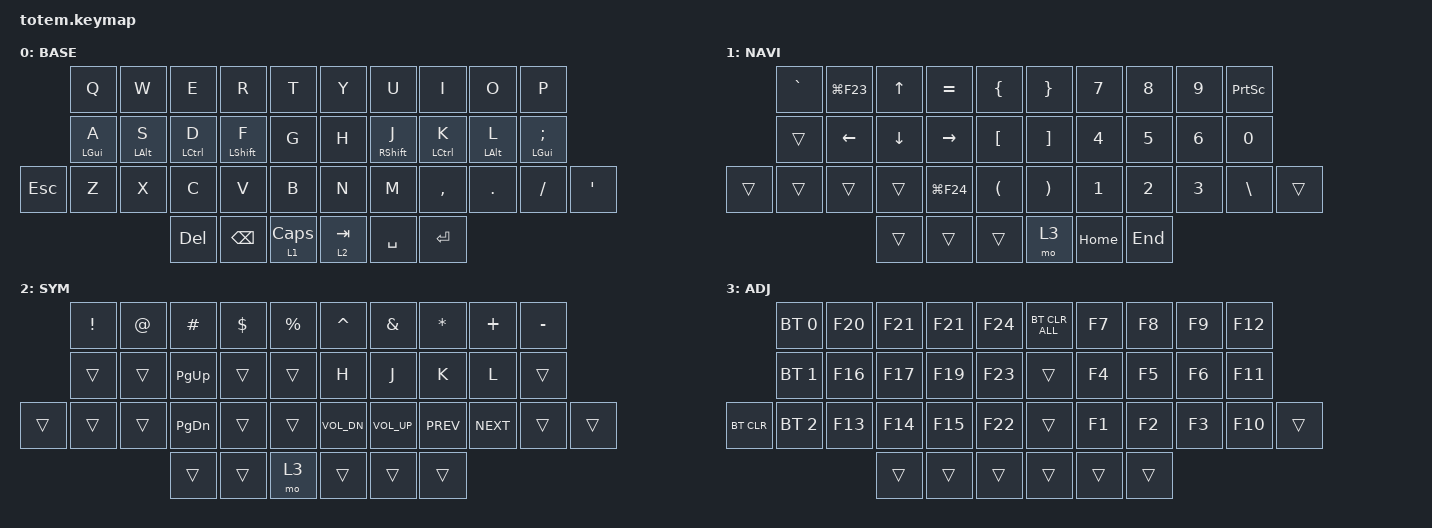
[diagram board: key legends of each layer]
//
//                                                        ▀▀▀▀▀     ▀▀▀▀▀          ▀▀█▀▀
//                                                        ▄▀▀▀▄  ▄  ▄▀▀▀▄  ▄  ▄▀▀▀▄  █  ▄▀▀▀▄
//                                                        █   █  █  █   █  █  █   █  █  █   █
//                                                         ▀▀▀   █   ▀▀▀   █   ▀▀▀   ▀   ▀▀▀
//                                                               █      ▄▄▄█▄▄▄    █   █  
//                                                               ▀      █  █  █     █▄█
//                                                             ▀▀▀▀▀    █  █  █      ▀
//                                                                      ▀  ▀  ▀
//
// ▄▄▄▄▄▄▄▄▄▄▄▄▄▄▄▄▄▄▄▄▄▄▄▄▄▄▄▄▄▄▄▄▄▄▄▄▄▄▄▄▄▄▄▄▄▄▄▄▄▄▄▄▄▄▄▄▄▄▄▄▄▄▄▄▄▄▄▄▄▄▄▄▄▄▄▄▄▄▄▄▄▄▄▄▄▄▄▄▄▄▄▄▄▄▄▄▄▄▄▄▄▄▄▄▄▄▄▄▄▄▄▄▄▄▄▄▄▄▄▄▄▄▄▄▄▄▄▄▄▄▄▄▄▄▄▄▄▄▄▄▄▄▄▄▄▄▄▄▄

#include <behaviors.dtsi>
#include <dt-bindings/zmk/bt.h>
#include <dt-bindings/zmk/keys.h>

#define BASE 0
#define NAV  1
#define SYM  2
#define ADJ  3
#define TVP1 4
#define TVP2 5

&mt {
    quick-tap-ms = <150>;
    global-quick-tap;
    flavor = "tap-preferred";
    tapping-term-ms = <200>;
};

/ {
    combos {
        compatible = "zmk,combos";

        delete_word {
            bindings = <&kp LC(BACKSPACE)>;
            key-positions = <33 17>;
        };

        left_bracket {
            bindings = <&kp LEFT_BRACKET>;
            key-positions = <8 7>;
        };

        right_bracket {
            bindings = <&kp RIGHT_BRACKET>;
            key-positions = <18 17>;
        };

        delete_word2 {
            bindings = <&kp LC(DELETE)>;
            key-positions = <12 33>;
        };

        esc {
            bindings = <&kp ESC>;
            key-positions = <10 11>;
        };

        apostrophe {
            bindings = <&kp APOSTROPHE>;
            key-positions = <19 18>;
        };

        printscreen {
            bindings = <&kp PRINTSCREEN>;
            key-positions = <3 1>;
        };
    };

    macros {
        gif: gif {
            label = "giphy";
            compatible = "zmk,behavior-macro";
            #binding-cells = <0>;
            bindings =
                <&macro_press>,
                <&kp LSHFT>,
                <&macro_tap>,
                <&kp N2>,
                <&macro_release>,
                <&kp LSHFT>,
                <&macro_tap>,
                <&kp G &kp I &kp F>;
        };
    };

    keymap {
        compatible = "zmk,keymap";

        // ▄▄▄▄▄▄▄▄▄▄▄▄▄▄▄▄▄▄▄▄▄▄▄▄▄▄▄▄▄▄▄▄▄▄▄▄▄▄▄▄▄▄▄▄▄▄▄▄▄▄▄▄▄▄▄▄▄▄▄▄▄▄▄▄▄▄▄▄▄▄▄▄▄▄▄▄▄▄▄▄▄▄▄▄▄▄▄▄▄▄▄▄▄▄▄▄▄▄▄▄▄▄▄▄▄▄▄▄▄▄▄▄▄▄▄▄▄▄▄▄▄▄▄▄▄▄▄▄▄▄▄▄▄▄▄▄▄▄▄▄▄▄▄▄▄▄▄▄▄

        base {
            // ┏━━━━━━━━━━━━━━━━━━━━━━━━━━━━━━━━━━━━━━━┓

            label = "BASE";

            // ┗━━━━━━━━━━━━━━━━━━━━━━━━━━━━━━━━━━━━━━━┛
            //             ┏━━━━━━━━━━━┳━━━━━━━━━━━┳━━━━━━━━━━━┳━━━━━━━━━━━┳━━━━━━━━━━━┓   ┏━━━━━━━━━━━┳━━━━━━━━━━━┳━━━━━━━━━━━┳━━━━━━━━━━━┳━━━━━━━━━━━┓
            //             ┃     Q     ┃     W     ┃     F     ┃     P     ┃     G     ┃   ┃     J     ┃     L     ┃     U     ┃     Y     ┃     ;     ┃
            //             ┣━━━━━━━━━━━╋━━━━━━━━━━━╋━━━━━━━━━━━╋━━━━━━━━━━━╋━━━━━━━━━━━┫   ┣━━━━━━━━━━━╋━━━━━━━━━━━╋━━━━━━━━━━━╋━━━━━━━━━━━╋━━━━━━━━━━━┫
            //             ┃     A     ┃     R     ┃     S     ┃     T     ┃     D     ┃   ┃     H     ┃     N     ┃     E     ┃     I     ┃     O     ┃
            // ┏━━━━━━━━━━━╋━━━━━━━━━━━╋━━━━━━━━━━━╋━━━━━━━━━━━╋━━━━━━━━━━━╋━━━━━━━━━━━┫   ┣━━━━━━━━━━━╋━━━━━━━━━━━╋━━━━━━━━━━━╋━━━━━━━━━━━╋━━━━━━━━━━━╋━━━━━━━━━━━┓
            // ┃     Q     ┃     Z     ┃     X     ┃     C     ┃     V     ┃     B     ┃   ┃     K     ┃     M     ┃     ,     ┃     .     ┃     /     ┃     \     ┃
            // ┗━━━━━━━━━━━┻━━━━━━━━━━━┻━━━━━━━━━━━╋━━━━━━━━━━━╋━━━━━━━━━━━╋━━━━━━━━━━━┫   ┣━━━━━━━━━━━╋━━━━━━━━━━━╋━━━━━━━━━━━╋━━━━━━━━━━━┻━━━━━━━━━━━┻━━━━━━━━━━━┛
            //                                     ┃    DEL    ┃    TAB    ┃    SPC    ┃   ┃   ENTER   ┃           ┃   BSPC    ┃
            //                                     ┗━━━━━━━━━━━┻━━━━━━━━━━━┻━━━━━━━━━━━┛   ┗━━━━━━━━━━━┻━━━━━━━━━━━┻━━━━━━━━━━━┛

            bindings = <
            &kp Q       &kp W       &kp E        &kp R          &kp T         &kp Y      &kp U        &kp I        &kp O           &kp P
            &mt LGUI A  &mt LALT S  &mt LCTRL D  &mt LSHFT F    &kp G         &kp H      &mt RSHFT J  &mt LCTRL K  &mt LEFT_ALT L  &mt LEFT_GUI SEMICOLON
&kp ESCAPE  &kp Z       &kp X       &kp C        &kp V          &kp B         &kp N      &kp M        &kp COMMA    &kp DOT         &kp FSLH                &kp SQT
                                    &kp DELETE   &kp BACKSPACE  &lt 1 CAPS    &lt 2 TAB  &kp SPACE    &kp ENTER
            >;
        };

        // ▄▄▄▄▄▄▄▄▄▄▄▄▄▄▄▄▄▄▄▄▄▄▄▄▄▄▄▄▄▄▄▄▄▄▄▄▄▄▄▄▄▄▄▄▄▄▄▄▄▄▄▄▄▄▄▄▄▄▄▄▄▄▄▄▄▄▄▄▄▄▄▄▄▄▄▄▄▄▄▄▄▄▄▄▄▄▄▄▄▄▄▄▄▄▄▄▄▄▄▄▄▄▄▄▄▄▄▄▄▄▄▄▄▄▄▄▄▄▄▄▄▄▄▄▄▄▄▄▄▄▄▄▄▄▄▄▄▄▄▄▄▄▄▄▄▄▄▄▄

        first {
            // ┏━━━━━━━━━━━━━━━━━━━━━━━━━━━━━━━━━━━━━━━┓

            label = "NAVI";

            // ┗━━━━━━━━━━━━━━━━━━━━━━━━━━━━━━━━━━━━━━━┛
            //             ┏━━━━━━━━━━━┳━━━━━━━━━━━┳━━━━━━━━━━━┳━━━━━━━━━━━┳━━━━━━━━━━━┓   ┏━━━━━━━━━━━┳━━━━━━━━━━━┳━━━━━━━━━━━┳━━━━━━━━━━━┳━━━━━━━━━━━┓
            //             ┃           ┃           ┃     UP    ┃           ┃     {     ┃   ┃     }     ┃     7     ┃     8     ┃     9     ┃     +     ┃
            //             ┣━━━━━━━━━━━╋━━━━━━━━━━━╋━━━━━━━━━━━╋━━━━━━━━━━━╋━━━━━━━━━━━┫   ┣━━━━━━━━━━━╋━━━━━━━━━━━╋━━━━━━━━━━━╋━━━━━━━━━━━╋━━━━━━━━━━━┫
            //             ┃   SHIFT   ┃   LEFT    ┃    DOWN   ┃   RIGHT   ┃     [     ┃   ┃     ]     ┃     4     ┃     5     ┃     6     ┃     -     ┃
            // ┏━━━━━━━━━━━╋━━━━━━━━━━━╋━━━━━━━━━━━╋━━━━━━━━━━━╋━━━━━━━━━━━╋━━━━━━━━━━━┫   ┣━━━━━━━━━━━╋━━━━━━━━━━━╋━━━━━━━━━━━╋━━━━━━━━━━━╋━━━━━━━━━━━╋━━━━━━━━━━━┓
            // ┃           ┃           ┃   P UP    ┃  C LOCK   ┃  P DOWN   ┃     (     ┃   ┃     )     ┃     1     ┃     2     ┃     3     ┃     *     ┃           ┃
            // ┗━━━━━━━━━━━┻━━━━━━━━━━━┻━━━━━━━━━━━╋━━━━━━━━━━━╋━━━━━━━━━━━╋━━━━━━━━━━━┫   ┣━━━━━━━━━━━╋━━━━━━━━━━━╋━━━━━━━━━━━╋━━━━━━━━━━━┻━━━━━━━━━━━┻━━━━━━━━━━━┛
            //                                     ┃           ┃    TAB    ┃    SPC    ┃   ┃    DEL    ┃     0     ┃           ┃
            //                                     ┗━━━━━━━━━━━┻━━━━━━━━━━━┻━━━━━━━━━━━┛   ┗━━━━━━━━━━━┻━━━━━━━━━━━┻━━━━━━━━━━━┛

            bindings = <
        &kp GRAVE  &kp LG(F23)  &kp UP    &kp EQUAL    &kp LBRC    &kp RBRC  &kp NUMBER_7  &kp N8        &kp NUMBER_9  &kp PRINTSCREEN
        &trans     &kp LEFT     &kp DOWN  &kp RIGHT    &kp LBKT    &kp RBKT  &kp NUMBER_4  &kp N5        &kp NUMBER_6  &kp NUMBER_0
&trans  &trans     &trans       &trans    &kp LG(F24)  &kp LPAR    &kp RPAR  &kp NUMBER_1  &kp NUMBER_2  &kp NUMBER_3  &kp BACKSLASH    &trans
                                &trans    &trans       &trans      &mo 3     &kp HOME      &kp END
            >;
        };

        // ▄▄▄▄▄▄▄▄▄▄▄▄▄▄▄▄▄▄▄▄▄▄▄▄▄▄▄▄▄▄▄▄▄▄▄▄▄▄▄▄▄▄▄▄▄▄▄▄▄▄▄▄▄▄▄▄▄▄▄▄▄▄▄▄▄▄▄▄▄▄▄▄▄▄▄▄▄▄▄▄▄▄▄▄▄▄▄▄▄▄▄▄▄▄▄▄▄▄▄▄▄▄▄▄▄▄▄▄▄▄▄▄▄▄▄▄▄▄▄▄▄▄▄▄▄▄▄▄▄▄▄▄▄▄▄▄▄▄▄▄▄▄▄▄▄▄▄▄▄

        second {
            // ┏━━━━━━━━━━━━━━━━━━━━━━━━━━━━━━━━━━━━━━━┓

            label = "SYM";

            // ┗━━━━━━━━━━━━━━━━━━━━━━━━━━━━━━━━━━━━━━━┛
            //             ┏━━━━━━━━━━━┳━━━━━━━━━━━┳━━━━━━━━━━━┳━━━━━━━━━━━┳━━━━━━━━━━━┓   ┏━━━━━━━━━━━┳━━━━━━━━━━━┳━━━━━━━━━━━┳━━━━━━━━━━━┳━━━━━━━━━━━┓
            //             ┃     !     ┃     @     ┃     #     ┃     $     ┃     %     ┃   ┃     ˆ     ┃     &     ┃     Ü     ┃     '     ┃     "     ┃
            //             ┣━━━━━━━━━━━╋━━━━━━━━━━━╋━━━━━━━━━━━╋━━━━━━━━━━━╋━━━━━━━━━━━┫   ┣━━━━━━━━━━━╋━━━━━━━━━━━╋━━━━━━━━━━━╋━━━━━━━━━━━╋━━━━━━━━━━━┫
            //             ┃     Ä     ┃           ┃    SZ     ┃           ┃           ┃   ┃   MUTE    ┃   YEN     ┃   EURO    ┃  POUND    ┃     Ö     ┃
            // ┏━━━━━━━━━━━╋━━━━━━━━━━━╋━━━━━━━━━━━╋━━━━━━━━━━━╋━━━━━━━━━━━╋━━━━━━━━━━━┫   ┣━━━━━━━━━━━╋━━━━━━━━━━━╋━━━━━━━━━━━╋━━━━━━━━━━━╋━━━━━━━━━━━╋━━━━━━━━━━━┓
            // ┃           ┃  EMAIL1   ┃  EMAIL2   ┃           ┃           ┃           ┃   ┃   VOL-    ┃   VOL+    ┃   LAST    ┃   NEXT    ┃     \     ┃           ┃
            // ┗━━━━━━━━━━━┻━━━━━━━━━━━┻━━━━━━━━━━━╋━━━━━━━━━━━╋━━━━━━━━━━━╋━━━━━━━━━━━┫   ┣━━━━━━━━━━━╋━━━━━━━━━━━╋━━━━━━━━━━━╋━━━━━━━━━━━┻━━━━━━━━━━━┻━━━━━━━━━━━┛
            //                                     ┃           ┃    GIF    ┃    ADJ    ┃   ┃           ┃           ┃           ┃
            //                                     ┗━━━━━━━━━━━┻━━━━━━━━━━━┻━━━━━━━━━━━┛   ┗━━━━━━━━━━━┻━━━━━━━━━━━┻━━━━━━━━━━━┛

            bindings = <
        &kp EXCL  &kp AT  &kp HASH       &kp DLLR  &kp PRCNT    &kp CARET     &kp AMPS      &kp ASTERISK  &kp PLUS    &kp MINUS
        &trans    &trans  &kp PAGE_UP    &trans    &trans       &kp H         &kp J         &kp K         &kp L       &trans
&trans  &trans    &trans  &kp PAGE_DOWN  &trans    &trans       &kp C_VOL_DN  &kp C_VOL_UP  &kp C_PREV    &kp C_NEXT  &trans     &trans
                          &trans         &trans    &mo 3        &trans        &trans        &trans
            >;
        };

        // ▄▄▄▄▄▄▄▄▄▄▄▄▄▄▄▄▄▄▄▄▄▄▄▄▄▄▄▄▄▄▄▄▄▄▄▄▄▄▄▄▄▄▄▄▄▄▄▄▄▄▄▄▄▄▄▄▄▄▄▄▄▄▄▄▄▄▄▄▄▄▄▄▄▄▄▄▄▄▄▄▄▄▄▄▄▄▄▄▄▄▄▄▄▄▄▄▄▄▄▄▄▄▄▄▄▄▄▄▄▄▄▄▄▄▄▄▄▄▄▄▄▄▄▄▄▄▄▄▄▄▄▄▄▄▄▄▄▄▄▄▄▄▄▄▄▄▄▄▄

        third {
            // ┏━━━━━━━━━━━━━━━━━━━━━━━━━━━━━━━━━━━━━━━┓

            label = "ADJ";

            // ┗━━━━━━━━━━━━━━━━━━━━━━━━━━━━━━━━━━━━━━━┛
            //             ┏━━━━━━━━━━━┳━━━━━━━━━━━┳━━━━━━━━━━━┳━━━━━━━━━━━┳━━━━━━━━━━━┓   ┏━━━━━━━━━━━┳━━━━━━━━━━━┳━━━━━━━━━━━┳━━━━━━━━━━━┳━━━━━━━━━━━┓
            //             ┃   RESET   ┃ BT CLEAR  ┃  OUT TOG  ┃           ┃           ┃   ┃           ┃    F7     ┃    F8     ┃    F9     ┃    F12    ┃
            //             ┣━━━━━━━━━━━╋━━━━━━━━━━━╋━━━━━━━━━━━╋━━━━━━━━━━━╋━━━━━━━━━━━┫   ┣━━━━━━━━━━━╋━━━━━━━━━━━╋━━━━━━━━━━━╋━━━━━━━━━━━╋━━━━━━━━━━━┫
            //             ┃ BOOTLOAD  ┃ BT NEXT   ┃           ┃           ┃           ┃   ┃           ┃    F4     ┃    F5     ┃    F6     ┃    F11    ┃
            // ┏━━━━━━━━━━━╋━━━━━━━━━━━╋━━━━━━━━━━━╋━━━━━━━━━━━╋━━━━━━━━━━━╋━━━━━━━━━━━┫   ┣━━━━━━━━━━━╋━━━━━━━━━━━╋━━━━━━━━━━━╋━━━━━━━━━━━╋━━━━━━━━━━━╋━━━━━━━━━━━┓
            // ┃           ┃           ┃ BT PREV   ┃           ┃           ┃           ┃   ┃           ┃    F1     ┃    F2     ┃    F3     ┃    F10    ┃           ┃
            // ┗━━━━━━━━━━━┻━━━━━━━━━━━┻━━━━━━━━━━━╋━━━━━━━━━━━╋━━━━━━━━━━━╋━━━━━━━━━━━┫   ┣━━━━━━━━━━━╋━━━━━━━━━━━╋━━━━━━━━━━━╋━━━━━━━━━━━┻━━━━━━━━━━━┻━━━━━━━━━━━┛
            //                                     ┃           ┃           ┃           ┃   ┃           ┃           ┃           ┃
            //                                     ┗━━━━━━━━━━━┻━━━━━━━━━━━┻━━━━━━━━━━━┛   ┗━━━━━━━━━━━┻━━━━━━━━━━━┻━━━━━━━━━━━┛

            bindings = <
            &bt BT_SEL 0  &kp F20  &kp F21  &kp F21  &kp F24    &bt BT_CLR_ALL  &kp F7  &kp F8  &kp F9  &kp F12
            &bt BT_SEL 1  &kp F16  &kp F17  &kp F19  &kp F23    &trans          &kp F4  &kp F5  &kp F6  &kp F11
&bt BT_CLR  &bt BT_SEL 2  &kp F13  &kp F14  &kp F15  &kp F22    &trans          &kp F1  &kp F2  &kp F3  &kp F10  &trans
                                   &trans   &trans   &trans     &trans          &trans  &trans
            >;
        };

        // ▄▄▄▄▄▄▄▄▄▄▄▄▄▄▄▄▄▄▄▄▄▄▄▄▄▄▄▄▄▄▄▄▄▄▄▄▄▄▄▄▄▄▄▄▄▄▄▄▄▄▄▄▄▄▄▄▄▄▄▄▄▄▄▄▄▄▄▄▄▄▄▄▄▄▄▄▄▄▄▄▄▄▄▄▄▄▄▄▄▄▄▄▄▄▄▄▄▄▄▄▄▄▄▄▄▄▄▄▄▄▄▄▄▄▄▄▄▄▄▄▄▄▄▄▄▄▄▄▄▄▄▄▄▄▄▄▄▄▄▄▄▄▄▄▄▄▄▄▄
        // ▄▄▄▄▄▄▄▄▄▄▄▄▄▄▄▄▄▄▄▄▄▄▄▄▄▄▄▄▄▄▄▄▄▄▄▄▄▄▄▄▄▄▄▄▄▄▄▄▄▄▄▄▄▄▄▄▄▄▄▄▄▄▄▄▄▄▄▄▄▄▄▄▄▄▄▄▄▄▄▄▄▄▄▄▄▄▄▄▄▄▄▄▄▄▄▄▄▄▄▄▄▄▄▄▄▄▄▄▄▄▄▄▄▄▄▄▄▄▄▄▄▄▄▄▄▄▄▄▄▄▄▄▄▄▄▄▄▄▄▄▄▄▄▄▄▄▄▄▄
    };
};
